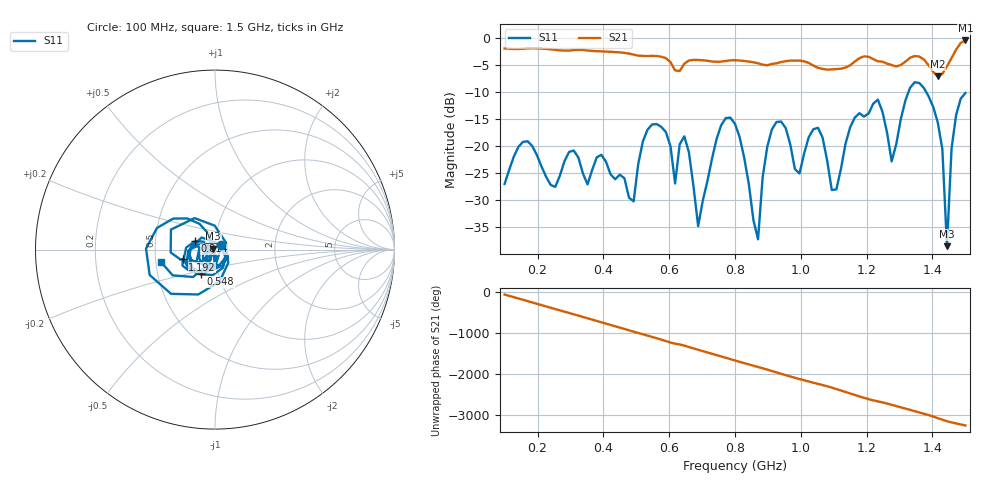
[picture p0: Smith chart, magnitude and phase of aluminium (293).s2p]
! NanoVNA-App
! Date: 2025-09-25 14:57:33
! Start: 100MHz Stop: 1,5GHz Points: 101
! S-Parameter data: F S11 S21 S12 S22
# Hz S RI R 50
!  Frequency  S11_Real  S11_Imag  S21_Real  S21_Imag  S12_Real  S12_Imag  S22_Real  S22_Imag
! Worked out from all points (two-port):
!   101 points, 100 MHz to 1.5 GHz, reference 50 ohm
!   highest |S21| = -0.45 dB at 1.5 GHz (marker M1); lowest = -7.1 dB at 1.416 GHz (marker M2)
!   |S21| within 3 dB of the highest: start of sweep to 575.5 MHz; 1.46 GHz to end of sweep (the widest 2 of 4)
!   lowest |S11| = -38.5 dB at 1.444 GHz (marker M3), VSWR 1.02, Z = 48.9 + j0.51 ohm
!   |S11| at or under -10 dB: start of sweep to 1.327 GHz; 1.381 GHz to end of sweep
!   S12 and S22 are empty: the file has one direction only
!   S11 on the Smith chart (normalised r, x): 100 MHz: 1.07, +0.06; 548 MHz: 0.82, -0.23; 814 MHz: 0.79, +0.07; 1.192 GHz: 0.69, -0.08; 1.5 GHz: 0.53, -0.08
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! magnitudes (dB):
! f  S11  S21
! 100 MHz  -27.0  -1.9
! 338 MHz  -25.0  -2.2
! 492 MHz  -30.2  -3.1
! 548 MHz  -16.0  -3.3
! 576 MHz  -16.4  -3.5
! 618 MHz  -26.9  -6.0
! 646 MHz  -18.2  -4.7
! 688 MHz  -34.8  -4.1
! 800 MHz  -15.9  -4.1
! 814 MHz  -18.3  -4.2
! 870 MHz  -37.2  -4.7
! 912 MHz  -16.9  -4.8
! 996 MHz  -25.0  -4.2
! 1.038 GHz  -16.9  -5.1
! 1.108 GHz  -28.0  -5.7
! 1.192 GHz  -14.5  -3.4
! 1.276 GHz  -22.8  -5.0
! 1.346 GHz  -8.2  -3.3
! 1.416 GHz  -15.6  -7.1
! 1.444 GHz  -38.5  -5.2
! 1.458 GHz  -20.4  -3.7
! 1.5 GHz  -10.2  -0.4
